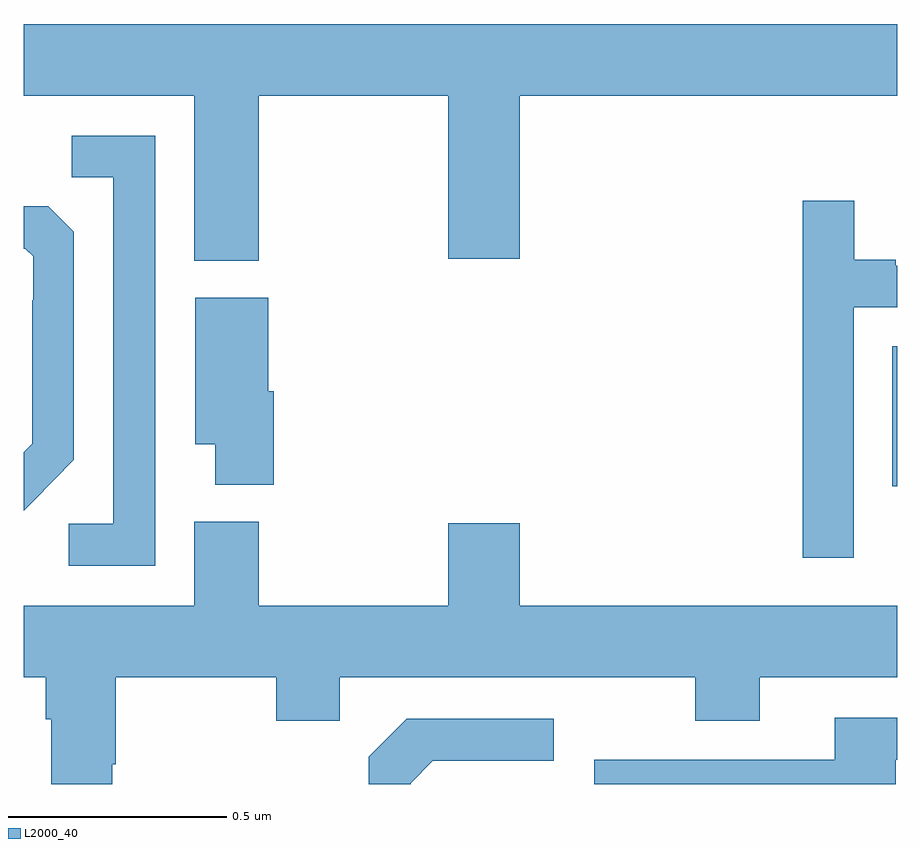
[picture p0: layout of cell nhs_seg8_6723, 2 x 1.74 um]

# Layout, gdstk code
import gdstk
lib = gdstk.Library(unit=1e-6, precision=1e-09)
def R(c, l, rs):  # rectangles x0, y0, x1, y1
    for r in rs: c.add(gdstk.rectangle(r[:2], r[2:], *l))
def P(c, l, *ps):  # polygons
    for p in ps: c.add(gdstk.Polygon(p, *l))
L2000_40 = (2000, 40)

nhs_seg8_6723 = lib.new_cell('nhs_seg8_6723')
R(nhs_seg8_6723, L2000_40, [(201.989,1139.582,202,1139.902)])
P(nhs_seg8_6723, L2000_40, [(200.538,1140.476),(200.972,1140.476),(200.972,1140.102),(201.136,1140.102),(201.136,1140.476),(202,1140.476),(202,1140.64),(200,1140.64),(200,1140.476),(200.39,1140.476),(200.39,1140.098),(200.538,1140.098)],
  [(200.301,1140.384),(200.11,1140.384),(200.11,1140.289),(200.205,1140.289),(200.205,1139.496),(200.103,1139.496),(200.103,1139.4),(200.301,1139.4)],
  [(201.9,1139.991),(202,1139.991),(202,1140.087),(201.997,1140.087),(201.997,1140.1),(201.901,1140.1),(201.901,1140.235),(201.784,1140.235),(201.784,1139.418),(201.9,1139.418)],
  [(200.023,1139.549),(200.115,1139.642),(200.115,1140.164),(200.056,1140.223),(200,1140.223),(200,1140.126),(200.004,1140.126),(200.022,1140.108),(200.022,1140.008),(200.019,1140.008),(200.019,1139.679),(200,1139.66),(200,1139.526)],
  [(200.573,1139.799),(200.56,1139.799),(200.56,1140.013),(200.393,1140.013),(200.393,1139.678),(200.438,1139.678),(200.438,1139.585),(200.573,1139.585)],
  [(200.203,1138.945),(200.211,1138.945),(200.211,1139.144),(200.578,1139.144),(200.578,1139.045),(200.724,1139.045),(200.724,1139.144),(201.538,1139.144),(201.538,1139.045),(201.685,1139.045),(201.685,1139.144),(202,1139.144),(202,1139.308),(201.136,1139.308),(201.136,1139.497),(200.972,1139.497),(200.972,1139.308),(200.538,1139.308),(200.538,1139.5),(200.39,1139.5),(200.39,1139.308),(200,1139.308),(200,1139.144),(200.051,1139.144),(200.051,1139.048),(200.063,1139.048),(200.063,1138.9),(200.203,1138.9)],
  [(201.997,1138.956),(202,1138.956),(202,1139.052),(201.857,1139.052),(201.857,1138.956),(201.306,1138.956),(201.306,1138.9),(201.997,1138.9)],
  [(200.886,1138.902),(200.937,1138.953),(201.214,1138.953),(201.214,1139.049),(200.877,1139.049),(200.79,1138.962),(200.79,1138.9),(200.886,1138.9)])

lib.write_gds('nhs_seg8_6723.gds')
